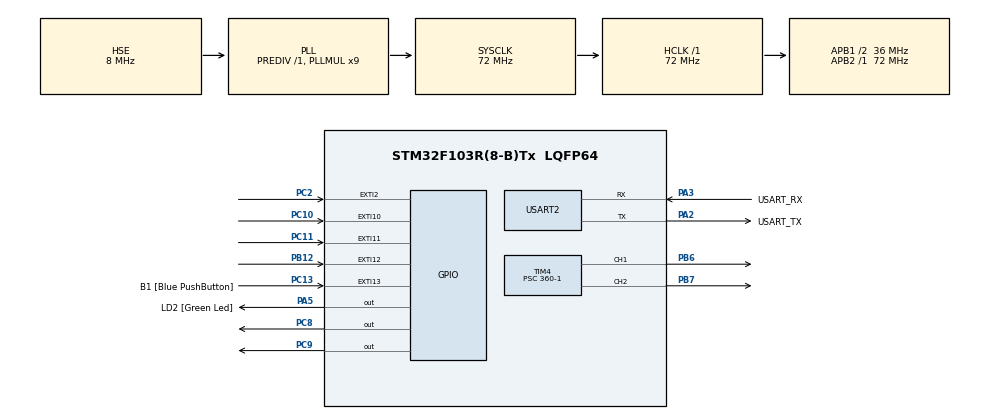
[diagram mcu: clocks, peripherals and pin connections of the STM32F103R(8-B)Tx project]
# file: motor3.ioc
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Mcu.Family=STM32F1
Mcu.Name=STM32F103R(8-B)Tx
Mcu.Package=LQFP64
NVIC.EXTI15_10_IRQn=true\:0\:0\:false\:false\:true\:true\:true\:true
NVIC.EXTI2_IRQn=true\:0\:0\:false\:false\:true\:true\:true\:true
NVIC.PriorityGroup=NVIC_PRIORITYGROUP_4
PA13.GPIO_Label=TMS
PA13.Mode=Serial_Wire
PA13.Signal=SYS_JTMS-SWDIO
PA14.GPIO_Label=TCK
PA14.Mode=Serial_Wire
PA14.Signal=SYS_JTCK-SWCLK
PA2.GPIO_Label=USART_TX
PA2.GPIO_Mode=GPIO_MODE_AF_PP
PA2.GPIO_PuPd=GPIO_NOPULL
PA2.GPIO_Speed=GPIO_SPEED_FREQ_LOW
PA2.Mode=Asynchronous
PA2.Signal=USART2_TX
PA3.GPIO_Label=USART_RX
PA3.GPIO_Mode=GPIO_MODE_AF_PP
PA3.GPIO_PuPd=GPIO_NOPULL
PA3.GPIO_Speed=GPIO_SPEED_FREQ_LOW
PA3.Mode=Asynchronous
PA3.Signal=USART2_RX
PA5.GPIO_Label=LD2 [Green Led]
PA5.GPIO_ModeDefaultOutputPP=GPIO_MODE_OUTPUT_PP
PA5.GPIO_PuPd=GPIO_NOPULL
PA5.GPIO_Speed=GPIO_SPEED_FREQ_LOW
PA5.Signal=GPIO_Output
PA8.Signal=S_TIM1_CH1
PB12.Signal=GPXTI12
PB3.GPIO_Label=SWO
PB3.Signal=SYS_JTDO-TRACESWO
PB6.Signal=S_TIM4_CH1
PB7.Signal=S_TIM4_CH2
PC10.Signal=GPXTI10
PC11.Signal=GPXTI11
PC13-TAMPER-RTC.GPIO_Label=B1 [Blue PushButton]
PC13-TAMPER-RTC.GPIO_PuPd=GPIO_NOPULL
PC13-TAMPER-RTC.Signal=GPXTI13
PC14-OSC32_IN.Mode=LSE-External-Oscillator
PC14-OSC32_IN.Signal=RCC_OSC32_IN
PC15-OSC32_OUT.Mode=LSE-External-Oscillator
PC15-OSC32_OUT.Signal=RCC_OSC32_OUT
PC2.GPIO_PuPd=GPIO_NOPULL
PC2.Signal=GPXTI2
PC8.Signal=GPIO_Output
PC9.Signal=GPIO_Output
PD0-OSC_IN.Mode=HSE-External-Clock-Source
PD0-OSC_IN.Signal=RCC_OSC_IN
PD1-OSC_OUT.Mode=HSE-External-Clock-Source
PD1-OSC_OUT.Signal=RCC_OSC_OUT
ProjectManager.HeapSize=0x200
ProjectManager.StackSize=0x400
ProjectManager.TargetToolchain=STM32CubeIDE
RCC.AHBFreq_Value=72000000
RCC.APB1CLKDivider=RCC_HCLK_DIV2
RCC.APB1Freq_Value=36000000
RCC.APB1TimFreq_Value=72000000
RCC.APB2Freq_Value=72000000
RCC.APB2TimFreq_Value=72000000
RCC.HCLKFreq_Value=72000000
RCC.PLLMUL=RCC_PLL_MUL9
RCC.PLLSourceVirtual=RCC_PLLSOURCE_HSE
RCC.RTCClockSelection=RCC_RTCCLKSOURCE_LSE
RCC.SYSCLKFreq_VALUE=72000000
RCC.SYSCLKSource=RCC_SYSCLKSOURCE_PLLCLK
RCC.USBFreq_Value=72000000
SH.S_TIM1_CH1.0=TIM1_CH1
SH.S_TIM4_CH1.0=TIM4_CH1,PWM Generation1 CH1
SH.S_TIM4_CH2.0=TIM4_CH2,PWM Generation2 CH2
TIM4.AutoReloadPreload=TIM_AUTORELOAD_PRELOAD_DISABLE
TIM4.Channel-PWM\ Generation1\ CH1=TIM_CHANNEL_1
TIM4.Channel-PWM\ Generation2\ CH2=TIM_CHANNEL_2
TIM4.Period=200-1
TIM4.Prescaler=360-1
USART2.VirtualMode=VM_ASYNC
VP_TIM4_VS_ClockSourceINT.Mode=Internal
board=NUCLEO-F103RB

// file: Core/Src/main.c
/* USER CODE BEGIN Header */
/**
  ******************************************************************************
  * @file           : main.c
  * @brief          : Main program body
  ******************************************************************************
  * @attention
  *
  * Copyright (c) 2024 STMicroelectronics.
  * All rights reserved.
  *
  * This software is licensed under terms that can be found in the LICENSE file
  * in the root directory of this software component.
  * If no LICENSE file comes with this software, it is provided AS-IS.
  *
  ******************************************************************************
  */
/* USER CODE END Header */
#include "main.h"
#include "tim.h"
#include "usart.h"
#include "gpio.h"

/* USER CODE BEGIN PV */
volatile int counter1 = 0;
volatile int counter2 = 0;
volatile int counter3 = 0;
volatile int counter4 = 0;
volatile int rev = 0;
volatile int check = 0;
/* USER CODE END PV */

void SystemClock_Config(void);

/* USER CODE BEGIN 0 */
void Speed_Control1(int a)
{
	__HAL_TIM_SetCompare(&htim4, TIM_CHANNEL_1, a);
	//__HAL_TIM_SetCompare(&htim4, TIM_CHANNEL_2, a - 30);
	//HAL_GPIO_WritePin(GPIOA, GPIO_PIN_5, GPIO_PIN_SET);
}
void Speed_Control2(int a)
{
	//__HAL_TIM_SetCompare(&htim4, TIM_CHANNEL_1, a);
	__HAL_TIM_SetCompare(&htim4, TIM_CHANNEL_2, a);
}

void Direction(int a)
{
	if(a==1)
	{
		HAL_GPIO_WritePin(GPIOC, GPIO_PIN_8, GPIO_PIN_RESET);
		HAL_GPIO_WritePin(GPIOC, GPIO_PIN_9, GPIO_PIN_SET);
	}
	if(a==0)
	{
		HAL_GPIO_WritePin(GPIOC, GPIO_PIN_8, GPIO_PIN_SET);
		HAL_GPIO_WritePin(GPIOC, GPIO_PIN_9, GPIO_PIN_RESET);
	}
}
void HAL_GPIO_EXTI_Callback(uint16_t GPIO_Pin)
{
	if(GPIO_Pin == GPIO_PIN_2)
	{
		if (HAL_GPIO_ReadPin(GPIOC,GPIO_PIN_2) == GPIO_PIN_SET){
			counter2++;
			if(counter2 == 560)
			{
				Speed_Control2(0);
				counter2 = 0;
			}
		}
	}
	if(GPIO_Pin == GPIO_PIN_10)
	{
		//counter3++;
	}
	if(GPIO_Pin == GPIO_PIN_11)
	{
		//counter4++;
	}

	if(GPIO_Pin == GPIO_PIN_12)
	{
		if (HAL_GPIO_ReadPin(GPIOB,GPIO_PIN_12) == GPIO_PIN_SET){
			counter1++;
			if(counter1 == 560)
			{
				Speed_Control1(0);
				counter1 = 0;
			}
		}
	}
	if(GPIO_Pin == GPIO_PIN_13)
	{
			counter1 = 0;
			counter2 = 0;
			Speed_Control1(0);
			Speed_Control2(0);
	}
}
/*void encoder(void)
{
	counter++;
	if(counter == 588)
	{
		Speed_Control(0);
		counter = 0;
	}
}*/
void quarter_cycle_cw(void)
{
	Direction(0);
	Speed_Control1(127);
	Speed_Control2(100);
}
void quarter_cycle_acw(void)
{
	Direction(1);
	Speed_Control1(120);
	Speed_Control2(110);
}
/* USER CODE END 0 */

int main(void)
{

  /* MCU Configuration--------------------------------------------------------*/

  /* Reset of all peripherals, Initializes the Flash interface and the Systick. */
  HAL_Init();

  /* Configure the system clock */
  SystemClock_Config();

  /* Initialize all configured peripherals */
  MX_GPIO_Init();
  MX_USART2_UART_Init();
  MX_TIM4_Init();
  /* USER CODE BEGIN 2 */
  HAL_TIM_Base_Start(&htim4);
  HAL_TIM_PWM_Start(&htim4,TIM_CHANNEL_1);
  HAL_TIM_PWM_Start(&htim4,TIM_CHANNEL_2);

  //Speed_Control(0);
  check = 1;
  quarter_cycle_acw();
  HAL_Delay(4000);
  check = 2;
  quarter_cycle_cw();
  //Speed_Control(0);
  check = 3;
  /* USER CODE END 2 */

  /* Infinite loop */
  while (1)
  {

  }
}

void SystemClock_Config(void)
{
  RCC_OscInitTypeDef RCC_OscInitStruct = {0};
  RCC_ClkInitTypeDef RCC_ClkInitStruct = {0};

  /** Initializes the RCC Oscillators according to the specified parameters
  * in the RCC_OscInitTypeDef structure.
  */
  RCC_OscInitStruct.OscillatorType = RCC_OSCILLATORTYPE_HSE;
  RCC_OscInitStruct.HSEState = RCC_HSE_BYPASS;
  RCC_OscInitStruct.HSEPredivValue = RCC_HSE_PREDIV_DIV1;
  RCC_OscInitStruct.HSIState = RCC_HSI_ON;
  RCC_OscInitStruct.PLL.PLLState = RCC_PLL_ON;
  RCC_OscInitStruct.PLL.PLLSource = RCC_PLLSOURCE_HSE;
  RCC_OscInitStruct.PLL.PLLMUL = RCC_PLL_MUL9;
  if (HAL_RCC_OscConfig(&RCC_OscInitStruct) != HAL_OK)
  {
    Error_Handler();
  }

  /** Initializes the CPU, AHB and APB buses clocks
  */
  RCC_ClkInitStruct.ClockType = RCC_CLOCKTYPE_HCLK|RCC_CLOCKTYPE_SYSCLK
                              |RCC_CLOCKTYPE_PCLK1|RCC_CLOCKTYPE_PCLK2;
  RCC_ClkInitStruct.SYSCLKSource = RCC_SYSCLKSOURCE_PLLCLK;
  RCC_ClkInitStruct.AHBCLKDivider = RCC_SYSCLK_DIV1;
  RCC_ClkInitStruct.APB1CLKDivider = RCC_HCLK_DIV2;
  RCC_ClkInitStruct.APB2CLKDivider = RCC_HCLK_DIV1;

  if (HAL_RCC_ClockConfig(&RCC_ClkInitStruct, FLASH_LATENCY_2) != HAL_OK)
  {
    Error_Handler();
  }
}

void Error_Handler(void)
{
  __disable_irq();
  while (1)
  {
  }
}
